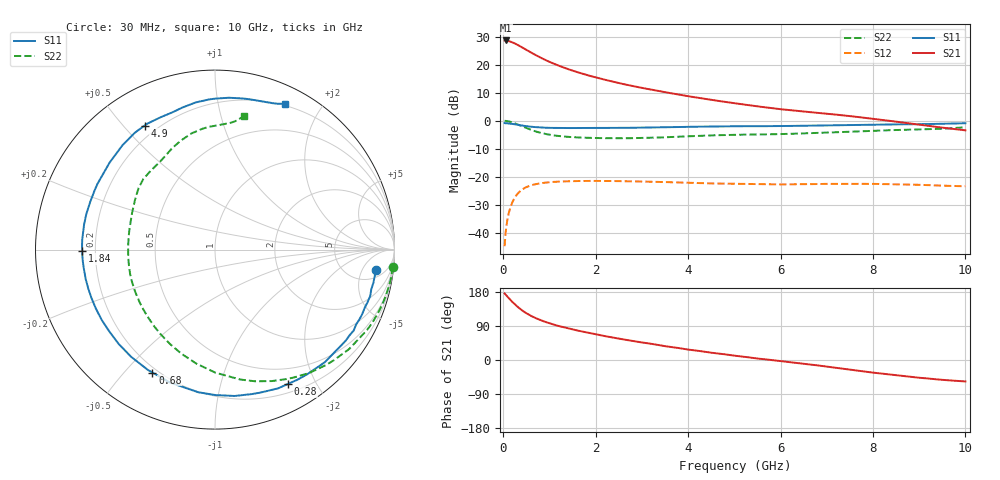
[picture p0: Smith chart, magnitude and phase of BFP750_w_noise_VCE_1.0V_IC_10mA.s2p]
! Infineon Technologies  Discrete & RF Semiconductors
! BFP750
! VCE =  1.0 V,  IC =  10 mA
! Common Emitter S-Parameters:  Jan 2016
# GHz  S  MA  R  50
!  f  S11  S21  S12  S22
! GHz  MAG  ANG  MAG  ANG  MAG  ANG  MAG  ANG
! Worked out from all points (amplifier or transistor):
!   229 points, 30 MHz to 10 GHz, reference 50 ohm
!   highest |S21| = 28.7 dB at 50 MHz (marker M1)
!   |S21| within 3 dB of that: start of sweep to 464 MHz
!   unconditionally stable (mu >= 1): 5.215 GHz to end of sweep
!   at 280 MHz: K = 0.07, MSG = 27.1 dB, |S12| = -26.8 dB
!   at 1.78 GHz: K = 0.36, MSG = 19.0 dB, |S12| = -21.6 dB
!   at 10 GHz: K = 1.23, MAG = 7.1 dB, |S12| = -23.5 dB
!   lowest NFmin = 0.64 dB at 450 MHz
!   S11 on the Smith chart (normalised r, x): 30 MHz: 8, -10; 280 MHz: 0.30, -1.64; 680 MHz: 0.18, -0.60; 1.84 GHz: 0.15, -0.01; 4.9 GHz: 0.15, +0.57; 10 GHz: 0.18, +1.57
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0.03  0.9043 -7.1  27.04 175.8  0.0057 85.6  0.9944 -5.6
0.05  0.9017 -11.8  27.19 172.5  0.0095 83.7  0.9933 -9.4
0.1  0.8955 -23.7  26.74 166.0  0.0187 77.2  0.9796 -18.7
0.165  0.881 -38.1  25.75 157.4  0.0296 69.0  0.9479 -30.4
0.2  0.8764 -45.7  25.12 152.9  0.0351 65.2  0.9306 -36.5
0.28  0.8518 -61.5  23.39 143.7  0.0457 56.7  0.8773 -49.3
0.36  0.8307 -75.7  21.55 135.5  0.0543 49.5  0.8239 -61.1
0.45  0.8105 -89.8  19.56 127.3  0.0617 42.6  0.7672 -73.0
0.6  0.7819 -108.8  16.56 116.5  0.0698 33.3  0.6857 -89.8
0.68  0.7685 -117.0  15.23 111.9  0.0726 29.4  0.6503 -97.4
0.88  0.7517 -134.0  12.54 101.9  0.0774 21.7  0.5874 -113.8
1.1  0.7429 -148.2  10.4 93.2  0.0805 15.3  0.5454 -128.4
1.4  0.7388 -163.1  8.363 83.5  0.0825 8.9  0.514 -144.0
1.7  0.7397 -174.7  6.977 75.3  0.0835 3.9  0.4985 -156.2
1.84  0.7403 -179.4  6.454 71.7  0.0836 1.9  0.494 -161.2
2.6  0.7443 159.7  4.509 54.3  0.0827 -7.2  0.4845 175.8
3.4  0.7574 142.4  3.347 38.7  0.0802 -14.0  0.501 158.2
4.9  0.7946 119.6  2.109 13.2  0.0745 -21.9  0.5572 136.6
5.1  0.7961 117.2  2 10.1  0.074 -22.7  0.5611 134.3
6.8  0.8204 99.5  1.382 -14.2  0.0736 -28.0  0.6041 114.8
8.4  0.8559 79.7  0.984 -38.9  0.0731 -37.2  0.6771 95.9
10  0.8999 64.5  0.672 -56.6  0.0671 -43.8  0.7605 77.8
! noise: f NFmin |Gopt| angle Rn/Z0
0.45  0.64  0.24  2  0.09
0.9  0.66  0.21  16  0.02
1.5  0.68  0.13  78  0.06
1.9  0.71  0.12  115  0.08
2.4  0.78  0.17  153  0.08
3.5  1.07  0.24  -166  0.05
